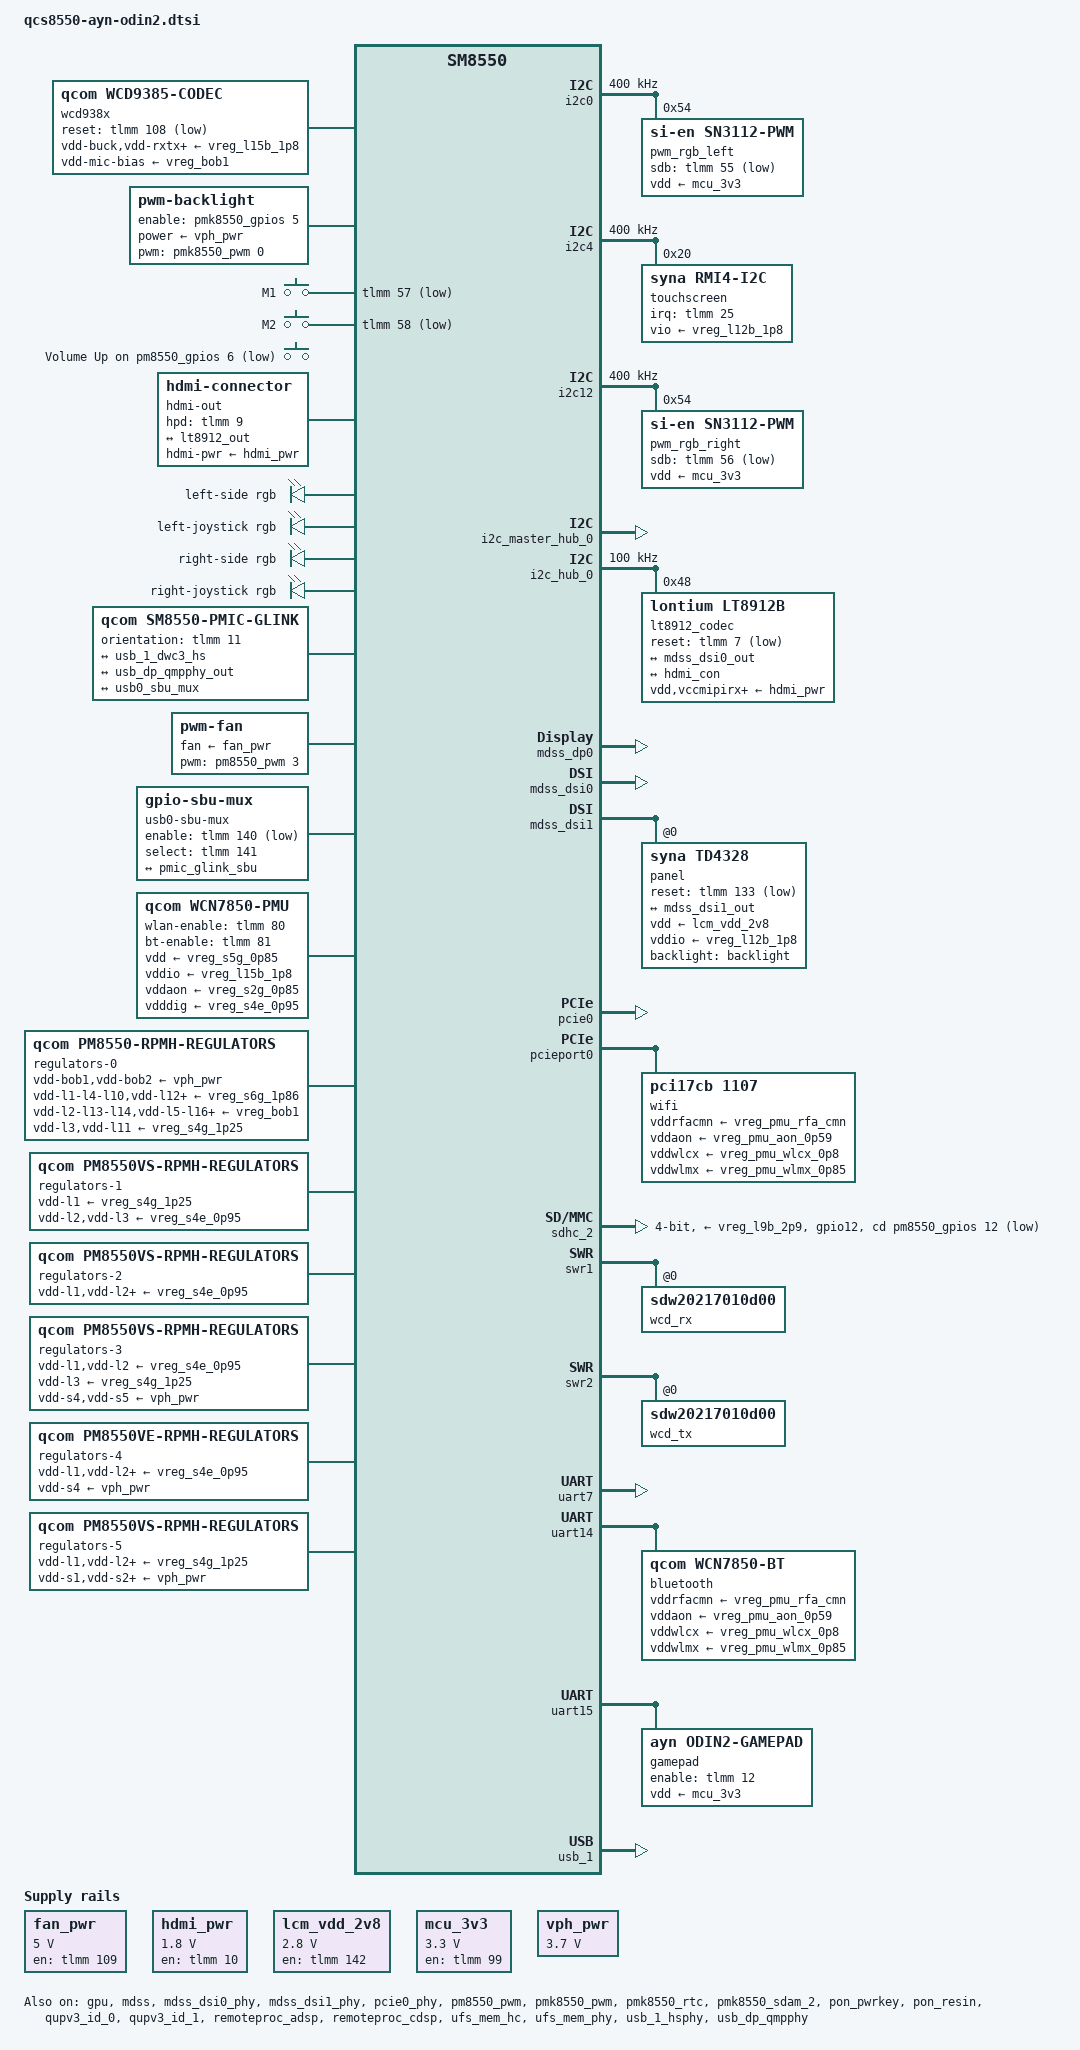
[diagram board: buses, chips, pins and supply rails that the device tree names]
// SPDX-License-Identifier: BSD-3-Clause
/*
 * Copyright (c) 2024, Xilin Wu <wuxilin123@gmail.com>
 * Copyright (c) 2024, Flao <placeholder@mail.com>
 * Copyright (c) 2024, Junhao Xie <bigfoot@classfun.cn>
 */

#include <dt-bindings/leds/common.h>
#include <dt-bindings/regulator/qcom,rpmh-regulator.h>
/* This device uses regular Android firmware */
#include "sm8550.dtsi"
#include "pm8550.dtsi"
#include "pm8550b.dtsi"
#define PMK8550VE_SID 5
#include "pm8550ve.dtsi"
#include "pm8550vs.dtsi"
#include "pmk8550.dtsi"

/*
 * The SoC being used on this product doesn't feature modem
 * and camera subsystem.
 * Variant: 202-AB
 * FEATURE_ID: 0x8
 */

/delete-node/ &mpss_mem;
/delete-node/ &q6_mpss_dtb_mem;
/delete-node/ &ipa_fw_mem;
/delete-node/ &ipa_gsi_mem;
/delete-node/ &camera_mem;
/delete-node/ &rmtfs_mem;
/delete-node/ &mpss_dsm_mem;

/delete-node/ &trust_ui_vm_mem;
/delete-node/ &trust_ui_vm_dump;
/delete-node/ &trust_ui_vm_qrtr;
/delete-node/ &trust_ui_vm_vblk0_ring;
/delete-node/ &trust_ui_vm_vblk1_ring;
/delete-node/ &trust_ui_vm_swiotlb;
/delete-node/ &oem_vm_mem;
/delete-node/ &oem_vm_vblk0_ring;
/delete-node/ &oem_vm_swiotlb;
/delete-node/ &hyp_ext_tags_mem;
/delete-node/ &hyp_ext_reserved_mem;

/delete-node/ &cci0;
/delete-node/ &cci1;
/delete-node/ &cci2;
/delete-node/ &camcc;
/delete-node/ &remoteproc_mpss;

/ {
	chassis-type = "handset";

	aliases {
		serial0 = &uart7;
		serial1 = &uart14;
		serial2 = &uart15;
	};

	wcd938x: audio-codec {
		compatible = "qcom,wcd9385-codec";

		pinctrl-names = "default";
		pinctrl-0 = <&wcd_default>;

		qcom,micbias1-microvolt = <1800000>;
		qcom,micbias2-microvolt = <1800000>;
		qcom,micbias3-microvolt = <1800000>;
		qcom,micbias4-microvolt = <1800000>;
		qcom,mbhc-buttons-vthreshold-microvolt = <75000 150000 237000 500000 500000 500000 500000 500000>;
		qcom,mbhc-headset-vthreshold-microvolt = <1700000>;
		qcom,mbhc-headphone-vthreshold-microvolt = <50000>;
		qcom,rx-device = <&wcd_rx>;
		qcom,tx-device = <&wcd_tx>;

		reset-gpios = <&tlmm 108 GPIO_ACTIVE_LOW>;

		vdd-buck-supply = <&vreg_l15b_1p8>;
		vdd-rxtx-supply = <&vreg_l15b_1p8>;
		vdd-io-supply = <&vreg_l15b_1p8>;
		vdd-mic-bias-supply = <&vreg_bob1>;

		#sound-dai-cells = <1>;
	};

	backlight: backlight {
		compatible = "pwm-backlight";
		pwms = <&pmk8550_pwm 0 860000>;
		brightness-levels = <1023 0>;
		num-interpolated-steps = <1023>;
		default-brightness-level = <600>;
		power-supply = <&vph_pwr>;
		enable-gpios = <&pmk8550_gpios 5 GPIO_ACTIVE_HIGH>;
		pinctrl-0 = <&pwm_backlight_default>;
		pinctrl-names = "default";
	};

	fan_pwr: fan-pwr-regulator {
		compatible = "regulator-fixed";
		regulator-name = "fan_pwr";

		regulator-min-microvolt = <5000000>;
		regulator-max-microvolt = <5000000>;

		gpio = <&tlmm 109 GPIO_ACTIVE_HIGH>;
		enable-active-high;

		pinctrl-names = "default";
		pinctrl-0 = <&fan_pwr_en>;

		regulator-state-mem {
			regulator-off-in-suspend;
		};
	};

	gpio_keys_control: gpio-keys-control {
		compatible = "gpio-keys";

		pinctrl-0 = <&m1_m2_keys_default>;
		pinctrl-names = "default";

		m1-button {
			label = "M1";
			linux,code = <BTN_TRIGGER_HAPPY1>;
			gpios = <&tlmm 57 GPIO_ACTIVE_LOW>;
		};

		m2-button {
			label = "M2";
			linux,code = <BTN_TRIGGER_HAPPY2>;
			gpios = <&tlmm 58 GPIO_ACTIVE_LOW>;
		};
	};

	gpio_keys_vol: gpio-keys-vol {
		compatible = "gpio-keys";

		pinctrl-0 = <&volume_up_n>;
		pinctrl-names = "default";

		key-volume-up {
			label = "Volume Up";
			linux,code = <KEY_VOLUMEUP>;
			gpios = <&pm8550_gpios 6 GPIO_ACTIVE_LOW>;
			debounce-interval = <15>;
			linux,can-disable;
			wakeup-source;
		};
	};

	hdmi-out {
		compatible = "hdmi-connector";
		type = "d";
		hpd-gpios = <&tlmm 9 GPIO_ACTIVE_HIGH>;
		hdmi-pwr-supply = <&hdmi_pwr>;

		port {
			hdmi_con: endpoint {
				remote-endpoint = <&lt8912_out>;
			};
		};
	};

	hdmi_pwr: hdmi-pwr-regulator {
		compatible = "regulator-fixed";
		regulator-name = "hdmi_pwr";

		regulator-min-microvolt = <1800000>;
		regulator-max-microvolt = <1800000>;

		gpio = <&tlmm 10 GPIO_ACTIVE_HIGH>;
		enable-active-high;
	};

	lcm_vdd_2v8: lcm-vdd-2v8-regulator {
		compatible = "regulator-fixed";
		regulator-name = "lcm_vdd_2v8";

		regulator-min-microvolt = <2800000>;
		regulator-max-microvolt = <2800000>;

		gpio = <&tlmm 142 GPIO_ACTIVE_HIGH>;
		enable-active-high;
	};

	led_left_side: led-controller-1 {
		compatible = "pwm-leds-multicolor";

		multi-led {
			label = "left-side";
			color = <LED_COLOR_ID_RGB>;
			max-brightness = <255>;

			led-red {
				color = <LED_COLOR_ID_RED>;
				pwms = <&pwm_rgb_left 0>;
			};

			led-green {
				color = <LED_COLOR_ID_GREEN>;
				pwms = <&pwm_rgb_left 1>;
			};

			led-blue {
				color = <LED_COLOR_ID_BLUE>;
				pwms = <&pwm_rgb_left 2>;
			};
		};
	};

	led_left_joystick: led-controller-2 {
		compatible = "pwm-leds-multicolor";

		multi-led {
			label = "left-joystick";
			color = <LED_COLOR_ID_RGB>;
			max-brightness = <255>;

			led-red {
				color = <LED_COLOR_ID_RED>;
				pwms = <&pwm_rgb_left 6>;
			};

			led-green {
				color = <LED_COLOR_ID_GREEN>;
				pwms = <&pwm_rgb_left 7>;
			};

			led-blue {
				color = <LED_COLOR_ID_BLUE>;
				pwms = <&pwm_rgb_left 8>;
			};
		};
	};

	led_right_side: led-controller-3 {
		compatible = "pwm-leds-multicolor";

		multi-led {
			label = "right-side";
			color = <LED_COLOR_ID_RGB>;
			max-brightness = <255>;

			led-red {
				color = <LED_COLOR_ID_RED>;
				pwms = <&pwm_rgb_right 0>;
			};

			led-green {
				color = <LED_COLOR_ID_GREEN>;
				pwms = <&pwm_rgb_right 1>;
			};

			led-blue {
				color = <LED_COLOR_ID_BLUE>;
				pwms = <&pwm_rgb_right 2>;
			};
		};
	};

	led_right_joystick: led-controller-4 {
		compatible = "pwm-leds-multicolor";

		multi-led {
			label = "right-joystick";
			color = <LED_COLOR_ID_RGB>;
			max-brightness = <255>;

			led-red {
				color = <LED_COLOR_ID_RED>;
				pwms = <&pwm_rgb_right 6>;
			};

			led-green {
				color = <LED_COLOR_ID_GREEN>;
				pwms = <&pwm_rgb_right 7>;
			};

			led-blue {
				color = <LED_COLOR_ID_BLUE>;
				pwms = <&pwm_rgb_right 8>;
			};
		};
	};

	mcu_3v3: mcu-3v3-regulator {
		compatible = "regulator-fixed";
		regulator-name = "mcu_3v3";

		regulator-min-microvolt = <3300000>;
		regulator-max-microvolt = <3300000>;

		gpio = <&tlmm 99 GPIO_ACTIVE_HIGH>;
		regulator-always-on;
		regulator-boot-on;
		enable-active-high;
	};

	pmic-glink {
		compatible = "qcom,sm8550-pmic-glink", "qcom,pmic-glink";
		#address-cells = <1>;
		#size-cells = <0>;
		orientation-gpios = <&tlmm 11 GPIO_ACTIVE_HIGH>;

		connector@0 {
			compatible = "usb-c-connector";
			reg = <0>;
			power-role = "dual";
			data-role = "dual";

			ports {
				#address-cells = <1>;
				#size-cells = <0>;

				port@0 {
					reg = <0>;

					pmic_glink_hs_in: endpoint {
						remote-endpoint = <&usb_1_dwc3_hs>;
					};
				};

				port@1 {
					reg = <1>;

					pmic_glink_ss_in: endpoint {
						remote-endpoint = <&usb_dp_qmpphy_out>;
					};
				};

				port@2 {
					reg = <2>;

					pmic_glink_sbu: endpoint {
						remote-endpoint = <&usb0_sbu_mux>;
					};
				};
			};
		};
	};

	fan: pwm-fan {
		// 40 -> 1550 RPM
		// 65 -> 2450 RPM
		// 75 -> 2750 RPM
		// 90 -> 3250 RPM
		// 100 -> 3550 RPM
		// 130 -> 4400 RPM
		// 150 -> 4850 RPM
		// 180 -> 5500 RPM
		// 255 -> 6000 RPM
		compatible = "pwm-fan";
		/* level (0, 1, 2, 3, 4, 5, 6, 7) */
		cooling-levels = <0 40 65 75 90 100 130 150>;
		#cooling-cells = <2>;
		fan-supply = <&fan_pwr>;
		pwms = <&pm8550_pwm 3 100000>;

		pinctrl-names = "default";
		// pinctrl-0 = <&pwm_out_default &fan_int>;
		pinctrl-0 = <&pwm_out_default>;

		// pulses-per-revolution = <4>;
		// interrupt-parent = <&tlmm>;
		// interrupts = <13 IRQ_TYPE_EDGE_FALLING>;
	};

	sound {
		compatible = "qcom,sm8550-sndcard", "qcom,sm8450-sndcard";
		model = "QCS8550-AYN-ODIN2";
		audio-routing =
				"IN1_HPHL", "HPHL_OUT",
				"IN2_HPHR", "HPHR_OUT";

		wcd-playback-dai-link {
			link-name = "WCD Playback";

			cpu {
				sound-dai = <&q6apmbedai RX_CODEC_DMA_RX_0>;
			};

			codec {
				sound-dai = <&wcd938x 0>, <&swr1 0>, <&lpass_rxmacro 0>;
			};

			platform {
				sound-dai = <&q6apm>;
			};
		};

		wcd-capture-dai-link {
			link-name = "WCD Capture";

			cpu {
				sound-dai = <&q6apmbedai TX_CODEC_DMA_TX_3>;
			};

			codec {
				sound-dai = <&wcd938x 1>, <&swr2 0>, <&lpass_txmacro 0>;
			};

			platform {
				sound-dai = <&q6apm>;
			};
		};

		dp0-dai-link {
			link-name = "DP0 Playback";
			cpu {
				sound-dai = <&q6apmbedai DISPLAY_PORT_RX_0>;
			};

			platform {
				sound-dai = <&q6apm>;
			};

			codec {
				sound-dai = <&mdss_dp0>;
			};
		};
	};

	thermal-zones {
		cpuss2-thermal {
			trips {
				cpu7_middle_fan0: trip-point2 {
					temperature = <50000>;
					hysteresis = <2000>;
					type = "active";
				};

				cpu7_middle_fan1: trip-point3 {
					temperature = <55000>;
					hysteresis = <2000>;
					type = "active";
				};

				cpu7_middle_fan2: trip-point4 {
					temperature = <60000>;
					hysteresis = <2000>;
					type = "active";
				};

				cpu7_middle_fan3: trip-point5 {
					temperature = <65000>;
					hysteresis = <2000>;
					type = "active";
				};

				cpu7_middle_fan4: trip-point6 {
					temperature = <70000>;
					hysteresis = <2000>;
					type = "active";
				};

				cpu7_middle_fan5: trip-point7 {
					temperature = <75000>;
					hysteresis = <2000>;
					type = "active";
				};

				cpu7_middle_fan6: trip-point8 {
					temperature = <80000>;
					hysteresis = <2000>;
					type = "active";
				};
			};

			cooling-maps {
				map0 {
					trip = <&cpu7_middle_fan0>;
					cooling-device = <&fan 0 1>;
				};

				map1 {
					trip = <&cpu7_middle_fan1>;
					cooling-device = <&fan 1 2>;
				};

				map2 {
					trip = <&cpu7_middle_fan2>;
					cooling-device = <&fan 2 3>;
				};

				map3 {
					trip = <&cpu7_middle_fan3>;
					cooling-device = <&fan 3 4>;
				};

				map4 {
					trip = <&cpu7_middle_fan4>;
					cooling-device = <&fan 4 5>;
				};

				map5 {
					trip = <&cpu7_middle_fan5>;
					cooling-device = <&fan 5 6>;
				};

				map6 {
					trip = <&cpu7_middle_fan6>;
					cooling-device = <&fan 6 7>;
				};
			};
		};
	};

	usb0-sbu-mux {
		compatible = "gpio-sbu-mux";

		enable-gpios = <&tlmm 140 GPIO_ACTIVE_LOW>;
		select-gpios = <&tlmm 141 GPIO_ACTIVE_HIGH>;

		pinctrl-names = "default";
		pinctrl-0 = <&usb0_sbu_default>;

		mode-switch;
		orientation-switch;

		port {
			usb0_sbu_mux: endpoint {
				remote-endpoint = <&pmic_glink_sbu>;
			};
		};
	};

	vph_pwr: vph-pwr-regulator {
		compatible = "regulator-fixed";
		regulator-name = "vph_pwr";
		regulator-min-microvolt = <3700000>;
		regulator-max-microvolt = <3700000>;

		regulator-always-on;
		regulator-boot-on;
	};

	wcn7850-pmu {
		compatible = "qcom,wcn7850-pmu";

		pinctrl-names = "default";
		pinctrl-0 = <&wlan_en>, <&bt_default>, <&pmk8550_sleep_clk>;

		wlan-enable-gpios = <&tlmm 80 GPIO_ACTIVE_HIGH>;
        bt-enable-gpios = <&tlmm 81 GPIO_ACTIVE_HIGH>;

		vdd-supply = <&vreg_s5g_0p85>;
		vddio-supply = <&vreg_l15b_1p8>;
		vddaon-supply = <&vreg_s2g_0p85>;
		vdddig-supply = <&vreg_s4e_0p95>;
		vddrfa1p2-supply = <&vreg_s4g_1p25>;
		vddrfa1p8-supply = <&vreg_s6g_1p86>;

		regulators {
			vreg_pmu_rfa_cmn: ldo0 {
				regulator-name = "vreg_pmu_rfa_cmn";
			};

			vreg_pmu_aon_0p59: ldo1 {
				regulator-name = "vreg_pmu_aon_0p59";
			};

			vreg_pmu_wlcx_0p8: ldo2 {
				regulator-name = "vreg_pmu_wlcx_0p8";
			};

			vreg_pmu_wlmx_0p85: ldo3 {
				regulator-name = "vreg_pmu_wlmx_0p85";
			};

			vreg_pmu_btcmx_0p85: ldo4 {
				regulator-name = "vreg_pmu_btcmx_0p85";
			};

			vreg_pmu_rfa_0p8: ldo5 {
				regulator-name = "vreg_pmu_rfa_0p8";
			};

			vreg_pmu_rfa_1p2: ldo6 {
				regulator-name = "vreg_pmu_rfa_1p2";
			};

			vreg_pmu_rfa_1p8: ldo7 {
				regulator-name = "vreg_pmu_rfa_1p8";
			};

			vreg_pmu_pcie_0p9: ldo8 {
				regulator-name = "vreg_pmu_pcie_0p9";
			};

			vreg_pmu_pcie_1p8: ldo9 {
				regulator-name = "vreg_pmu_pcie_1p8";
			};
		};
	};
};

&apps_rsc {
	regulators-0 {
		compatible = "qcom,pm8550-rpmh-regulators";
		qcom,pmic-id = "b";

		vdd-bob1-supply = <&vph_pwr>;
		vdd-bob2-supply = <&vph_pwr>;
		vdd-l1-l4-l10-supply = <&vreg_s6g_1p86>;
		vdd-l2-l13-l14-supply = <&vreg_bob1>;
		vdd-l3-supply = <&vreg_s4g_1p25>;
		vdd-l5-l16-supply = <&vreg_bob1>;
		vdd-l6-l7-supply = <&vreg_bob1>;
		vdd-l8-l9-supply = <&vreg_bob1>;
		vdd-l11-supply = <&vreg_s4g_1p25>;
		vdd-l12-supply = <&vreg_s6g_1p86>;
		vdd-l15-supply = <&vreg_s6g_1p86>;
		vdd-l17-supply = <&vreg_bob2>;

		/* cdc-vdd-mic-bias-supply */
		vreg_bob1: bob1 {
			regulator-name = "vreg_bob1";
			regulator-min-microvolt = <3296000>;
			regulator-max-microvolt = <3960000>;
			regulator-initial-mode = <RPMH_REGULATOR_MODE_HPM>;
		};

		vreg_bob2: bob2 {
			regulator-name = "vreg_bob2";
			regulator-min-microvolt = <2720000>;
			regulator-max-microvolt = <3960000>;
			regulator-initial-mode = <RPMH_REGULATOR_MODE_HPM>;
		};

		/* Sensors vddio */
		vreg_l1b_1p8: ldo1 {
			regulator-name = "vreg_l1b_1p8";
			regulator-min-microvolt = <1800000>;
			regulator-max-microvolt = <1800000>;
			regulator-initial-mode = <RPMH_REGULATOR_MODE_HPM>;
			regulator-allow-set-load;
			regulator-allowed-modes = <RPMH_REGULATOR_MODE_LPM
						   RPMH_REGULATOR_MODE_HPM>;
		};

		/* Sensors vdd */
		vreg_l2b_3p0: ldo2 {
			regulator-name = "vreg_l2b_3p0";
			regulator-min-microvolt = <3008000>;
			regulator-max-microvolt = <3008000>;
			regulator-initial-mode = <RPMH_REGULATOR_MODE_HPM>;
			regulator-allow-set-load;
			regulator-allowed-modes = <RPMH_REGULATOR_MODE_LPM
						   RPMH_REGULATOR_MODE_HPM>;
		};

		vreg_l5b_3p1: ldo5 {
			regulator-name = "vreg_l5b_3p1";
			regulator-min-microvolt = <3104000>;
			regulator-max-microvolt = <3104000>;
			regulator-initial-mode = <RPMH_REGULATOR_MODE_HPM>;
			regulator-allow-set-load;
			regulator-allowed-modes = <RPMH_REGULATOR_MODE_LPM
						   RPMH_REGULATOR_MODE_HPM>;
		};

		vreg_l6b_1p8: ldo6 {
			regulator-name = "vreg_l6b_1p8";
			regulator-min-microvolt = <1800000>;
			regulator-max-microvolt = <3008000>;
			regulator-initial-mode = <RPMH_REGULATOR_MODE_HPM>;
			regulator-allow-set-load;
			regulator-allowed-modes = <RPMH_REGULATOR_MODE_LPM
						   RPMH_REGULATOR_MODE_HPM>;
		};

		vreg_l7b_1p8: ldo7 {
			regulator-name = "vreg_l7b_1p8";
			regulator-min-microvolt = <1800000>;
			regulator-max-microvolt = <3008000>;
			regulator-initial-mode = <RPMH_REGULATOR_MODE_HPM>;
			regulator-allow-set-load;
			regulator-allowed-modes = <RPMH_REGULATOR_MODE_LPM
						   RPMH_REGULATOR_MODE_HPM>;
		};

		vreg_l8b_1p8: ldo8 {
			regulator-name = "vreg_l8b_1p8";
			regulator-min-microvolt = <1800000>;
			regulator-max-microvolt = <3008000>;
			regulator-initial-mode = <RPMH_REGULATOR_MODE_HPM>;
			regulator-allow-set-load;
			regulator-allowed-modes = <RPMH_REGULATOR_MODE_LPM
						   RPMH_REGULATOR_MODE_HPM>;
		};

		vreg_l9b_2p9: ldo9 {
			regulator-name = "vreg_l9b_2p9";
			regulator-min-microvolt = <2960000>;
			regulator-max-microvolt = <3008000>;
			regulator-initial-mode = <RPMH_REGULATOR_MODE_HPM>;
			regulator-allow-set-load;
			regulator-allowed-modes = <RPMH_REGULATOR_MODE_LPM
						   RPMH_REGULATOR_MODE_HPM>;
		};

		vreg_l10b_1p8: ldo10 {
			regulator-name = "vreg_l10b_1p8";
			regulator-min-microvolt = <1800000>;
			regulator-max-microvolt = <1800000>;
			regulator-initial-mode = <RPMH_REGULATOR_MODE_HPM>;
			regulator-allow-set-load;
			regulator-allowed-modes = <RPMH_REGULATOR_MODE_LPM
						   RPMH_REGULATOR_MODE_HPM>;
		};

		vreg_l11b_1p2: ldo11 {
			regulator-name = "vreg_l11b_1p2";
			regulator-min-microvolt = <1200000>;
			regulator-max-microvolt = <1504000>;
			regulator-initial-mode = <RPMH_REGULATOR_MODE_HPM>;
			regulator-allow-set-load;
			regulator-allowed-modes = <RPMH_REGULATOR_MODE_LPM
						   RPMH_REGULATOR_MODE_HPM>;
		};

		vreg_l12b_1p8: ldo12 {
			regulator-name = "vreg_l12b_1p8";
			regulator-min-microvolt = <1800000>;
			regulator-max-microvolt = <1800000>;
			regulator-initial-mode = <RPMH_REGULATOR_MODE_HPM>;
			regulator-allow-set-load;
			regulator-allowed-modes = <RPMH_REGULATOR_MODE_LPM
						   RPMH_REGULATOR_MODE_HPM>;
		};

		/* Not really providing LCM_VDD_2V8, remove in the future */
		vreg_l13b_3p0: ldo13 {
			regulator-name = "vreg_l13b_3p0";
			regulator-min-microvolt = <3000000>;
			regulator-max-microvolt = <3000000>;
			regulator-initial-mode = <RPMH_REGULATOR_MODE_HPM>;
			regulator-allow-set-load;
			regulator-allowed-modes = <RPMH_REGULATOR_MODE_LPM
						   RPMH_REGULATOR_MODE_HPM>;
		};

		/* fingerprint sensor */
		vreg_l14b_3p2: ldo14 {
			regulator-name = "vreg_l14b_3p2";
			regulator-min-microvolt = <3200000>;
			regulator-max-microvolt = <3200000>;
			regulator-initial-mode = <RPMH_REGULATOR_MODE_HPM>;
			regulator-allow-set-load;
			regulator-allowed-modes = <RPMH_REGULATOR_MODE_LPM
						   RPMH_REGULATOR_MODE_HPM>;
		};

		/* Speaker dvdd */
		vreg_l15b_1p8: ldo15 {
			regulator-name = "vreg_l15b_1p8";
			regulator-min-microvolt = <1800000>;
			regulator-max-microvolt = <1800000>;
			regulator-initial-mode = <RPMH_REGULATOR_MODE_HPM>;
			regulator-allow-set-load;
			regulator-allowed-modes = <RPMH_REGULATOR_MODE_LPM
						   RPMH_REGULATOR_MODE_HPM>;
		};

		/* FM radio? wtf */
		vreg_l16b_2p8: ldo16 {
			regulator-name = "vreg_l16b_2p8";
			regulator-min-microvolt = <2800000>;
			regulator-max-microvolt = <2800000>;
			regulator-initial-mode = <RPMH_REGULATOR_MODE_HPM>;
			regulator-allow-set-load;
			regulator-allowed-modes = <RPMH_REGULATOR_MODE_LPM
						   RPMH_REGULATOR_MODE_HPM>;
		};

		/* Setting regulator-allow-set-load here will crash the device */
		vreg_l17b_2p5: ldo17 {
			regulator-name = "vreg_l17b_2p5";
			regulator-min-microvolt = <2504000>;
			regulator-max-microvolt = <2504000>;
			regulator-initial-mode = <RPMH_REGULATOR_MODE_HPM>;
		};
	};

	regulators-1 {
		compatible = "qcom,pm8550vs-rpmh-regulators";
		qcom,pmic-id = "c";

		vdd-l1-supply = <&vreg_s4g_1p25>;
		vdd-l2-supply = <&vreg_s4e_0p95>;
		vdd-l3-supply = <&vreg_s4e_0p95>;

		vreg_l1c_1p2: ldo1 {
			regulator-name = "vreg_l1c_1p2";
			regulator-min-microvolt = <1200000>;
			regulator-max-microvolt = <1200000>;
			regulator-initial-mode = <RPMH_REGULATOR_MODE_HPM>;
			regulator-allow-set-load;
			regulator-allowed-modes = <RPMH_REGULATOR_MODE_LPM
						   RPMH_REGULATOR_MODE_HPM>;
		};

		vreg_l3c_0p9: ldo3 {
			regulator-name = "vreg_l3c_0p9";
			regulator-min-microvolt = <880000>;
			regulator-max-microvolt = <912000>;
			regulator-initial-mode = <RPMH_REGULATOR_MODE_HPM>;
			regulator-allow-set-load;
			regulator-allowed-modes = <RPMH_REGULATOR_MODE_LPM
						   RPMH_REGULATOR_MODE_HPM>;
		};
	};

	regulators-2 {
		compatible = "qcom,pm8550vs-rpmh-regulators";
		qcom,pmic-id = "d";

		vdd-l1-supply = <&vreg_s4e_0p95>;
		vdd-l2-supply = <&vreg_s4e_0p95>;
		vdd-l3-supply = <&vreg_s4e_0p95>;

		vreg_l1d_0p88: ldo1 {
			regulator-name = "vreg_l1d_0p88";
			regulator-min-microvolt = <880000>;
			regulator-max-microvolt = <920000>;
			regulator-initial-mode = <RPMH_REGULATOR_MODE_HPM>;
			regulator-allow-set-load;
			regulator-allowed-modes = <RPMH_REGULATOR_MODE_LPM
						   RPMH_REGULATOR_MODE_HPM>;
		};

		/* ldo2 supplies SM8550 VDD_LPI_MX */
	};

	regulators-3 {
		compatible = "qcom,pm8550vs-rpmh-regulators";
		qcom,pmic-id = "e";

		vdd-l1-supply = <&vreg_s4e_0p95>;
		vdd-l2-supply = <&vreg_s4e_0p95>;
		vdd-l3-supply = <&vreg_s4g_1p25>;
		vdd-s4-supply = <&vph_pwr>;
		vdd-s5-supply = <&vph_pwr>;

		vreg_s4e_0p95: smps4 {
			regulator-name = "vreg_s4e_0p95";
			regulator-min-microvolt = <904000>;
			regulator-max-microvolt = <984000>;
			regulator-initial-mode = <RPMH_REGULATOR_MODE_HPM>;
		};

		vreg_s5e_1p08: smps5 {
			regulator-name = "vreg_s5e_1p08";
			regulator-min-microvolt = <1010000>;
			regulator-max-microvolt = <1120000>;
			regulator-initial-mode = <RPMH_REGULATOR_MODE_HPM>;
		};

		vreg_l1e_0p88: ldo1 {
			regulator-name = "vreg_l1e_0p88";
			regulator-min-microvolt = <880000>;
			regulator-max-microvolt = <912000>;
			regulator-initial-mode = <RPMH_REGULATOR_MODE_HPM>;
			regulator-allow-set-load;
			regulator-allowed-modes = <RPMH_REGULATOR_MODE_LPM
						   RPMH_REGULATOR_MODE_HPM>;
		};

		vreg_l2e_0p9: ldo2 {
			regulator-name = "vreg_l2e_0p9";
			regulator-min-microvolt = <870000>;
			regulator-max-microvolt = <970000>;
			regulator-initial-mode = <RPMH_REGULATOR_MODE_HPM>;
			regulator-allow-set-load;
			regulator-allowed-modes = <RPMH_REGULATOR_MODE_LPM
						   RPMH_REGULATOR_MODE_HPM>;
		};

		vreg_l3e_1p2: ldo3 {
			regulator-name = "vreg_l3e_1p2";
			regulator-min-microvolt = <1200000>;
			regulator-max-microvolt = <1200000>;
			regulator-initial-mode = <RPMH_REGULATOR_MODE_HPM>;
			regulator-allow-set-load;
			regulator-allowed-modes = <RPMH_REGULATOR_MODE_LPM
						   RPMH_REGULATOR_MODE_HPM>;
		};
	};

	regulators-4 {
		compatible = "qcom,pm8550ve-rpmh-regulators";
		qcom,pmic-id = "f";

		vdd-l1-supply = <&vreg_s4e_0p95>;
		vdd-l2-supply = <&vreg_s4e_0p95>;
		vdd-l3-supply = <&vreg_s4e_0p95>;
		vdd-s4-supply = <&vph_pwr>;

		vreg_s4f_0p5: smps4 {
			regulator-name = "vreg_s4f_0p5";
			regulator-min-microvolt = <300000>;
			regulator-max-microvolt = <700000>;
			regulator-initial-mode = <RPMH_REGULATOR_MODE_HPM>;
		};

		vreg_l1f_0p9: ldo1 {
			regulator-name = "vreg_l1f_0p9";
			regulator-min-microvolt = <880000>;
			regulator-max-microvolt = <912000>;
			regulator-initial-mode = <RPMH_REGULATOR_MODE_HPM>;
			regulator-allow-set-load;
			regulator-allowed-modes = <RPMH_REGULATOR_MODE_LPM
						   RPMH_REGULATOR_MODE_HPM>;
		};

		vreg_l2f_0p88: ldo2 {
			regulator-name = "vreg_l2f_0p88";
			regulator-min-microvolt = <880000>;
			regulator-max-microvolt = <912000>;
			regulator-initial-mode = <RPMH_REGULATOR_MODE_HPM>;
			regulator-allow-set-load;
			regulator-allowed-modes = <RPMH_REGULATOR_MODE_LPM
						   RPMH_REGULATOR_MODE_HPM>;
		};

		vreg_l3f_0p88: ldo3 {
			regulator-name = "vreg_l3f_0p88";
			regulator-min-microvolt = <880000>;
			regulator-max-microvolt = <912000>;
			regulator-initial-mode = <RPMH_REGULATOR_MODE_HPM>;
			regulator-allow-set-load;
			regulator-allowed-modes = <RPMH_REGULATOR_MODE_LPM
						   RPMH_REGULATOR_MODE_HPM>;
		};
	};

	regulators-5 {
		compatible = "qcom,pm8550vs-rpmh-regulators";
		qcom,pmic-id = "g";

		vdd-l1-supply = <&vreg_s4g_1p25>;
		vdd-l2-supply = <&vreg_s4g_1p25>;
		vdd-l3-supply = <&vreg_s4g_1p25>;
		vdd-s1-supply = <&vph_pwr>;
		vdd-s2-supply = <&vph_pwr>;
		vdd-s3-supply = <&vph_pwr>;
		vdd-s4-supply = <&vph_pwr>;
		vdd-s5-supply = <&vph_pwr>;
		vdd-s6-supply = <&vph_pwr>;

		vreg_s1g_1p25: smps1 {
			regulator-name = "vreg_s1g_1p25";
			regulator-min-microvolt = <1200000>;
			regulator-max-microvolt = <1300000>;
			regulator-initial-mode = <RPMH_REGULATOR_MODE_HPM>;
		};

		vreg_s2g_0p85: smps2 {
			regulator-name = "vreg_s2g_0p85";
			regulator-min-microvolt = <500000>;
			regulator-max-microvolt = <1036000>;
			regulator-initial-mode = <RPMH_REGULATOR_MODE_HPM>;
		};

		vreg_s3g_0p8: smps3 {
			regulator-name = "vreg_s3g_0p8";
			regulator-min-microvolt = <300000>;
			regulator-max-microvolt = <1004000>;
			regulator-initial-mode = <RPMH_REGULATOR_MODE_HPM>;
		};

		vreg_s4g_1p25: smps4 {
			regulator-name = "vreg_s4g_1p25";
			regulator-min-microvolt = <1200000>;
			regulator-max-microvolt = <1352000>;
			regulator-initial-mode = <RPMH_REGULATOR_MODE_RET>;
		};

		vreg_s5g_0p85: smps5 {
			regulator-name = "vreg_s5g_0p85";
			regulator-min-microvolt = <500000>;
			regulator-max-microvolt = <1004000>;
			regulator-initial-mode = <RPMH_REGULATOR_MODE_HPM>;
		};

		vreg_s6g_1p86: smps6 {
			regulator-name = "vreg_s6g_1p86";
			regulator-min-microvolt = <1800000>;
			regulator-max-microvolt = <2000000>;
			regulator-initial-mode = <RPMH_REGULATOR_MODE_HPM>;
		};

		vreg_l1g_1p2: ldo1 {
			regulator-name = "vreg_l1g_1p2";
			regulator-min-microvolt = <1144000>;
			regulator-max-microvolt = <1256000>;
			regulator-initial-mode = <RPMH_REGULATOR_MODE_HPM>;
			regulator-allow-set-load;
			regulator-allowed-modes = <RPMH_REGULATOR_MODE_LPM
						   RPMH_REGULATOR_MODE_HPM>;
		};

		vreg_l2g_1p1: ldo2 {
			regulator-name = "vreg_l2g_1p1";
			regulator-min-microvolt = <1100000>;
			regulator-max-microvolt = <1200000>;
			regulator-initial-mode = <RPMH_REGULATOR_MODE_HPM>;
			regulator-allow-set-load;
			regulator-allowed-modes = <RPMH_REGULATOR_MODE_LPM
						   RPMH_REGULATOR_MODE_HPM>;
		};

		vreg_l3g_1p2: ldo3 {
			regulator-name = "vreg_l3g_1p2";
			regulator-min-microvolt = <1200000>;
			regulator-max-microvolt = <1200000>;
			regulator-initial-mode = <RPMH_REGULATOR_MODE_HPM>;
			regulator-allow-set-load;
			regulator-allowed-modes = <RPMH_REGULATOR_MODE_LPM
						   RPMH_REGULATOR_MODE_HPM>;
		};
	};
};

// &dispcc {
//     status = "disabled";
// };

&gpi_dma1 {
	status = "okay";
};

&gpi_dma2 {
	status = "okay";
};

&gpu {
	status = "okay";

	zap-shader {
		firmware-name = "qcom/sm8550/ayn/odin2/a740_zap.mbn";
	};
};

&hub_i2c0_data_clk {
	/delete-property/ bias-pull-up;
	bias-disable;
};

&i2c0 {
	clock-frequency = <400000>;
	status = "okay";

	pwm_rgb_left: sn3112@54 {
		compatible = "si-en,sn3112-pwm";
		reg = <0x54>;
		sdb-gpios = <&tlmm 55 GPIO_ACTIVE_LOW>;
		vdd-supply = <&mcu_3v3>;
		#pwm-cells = <1>;
	};
};

&i2c4 {
	clock-frequency = <400000>;
	status = "okay";

	touchscreen@20 {
		compatible = "syna,rmi4-i2c";
		reg = <0x20>;
		#address-cells = <1>;
		#size-cells = <0>;
		interrupts-extended = <&tlmm 25 0x2008>;

		pinctrl-names = "default", "sleep";
		pinctrl-0 = <&ts_int_default>;
		pinctrl-1 = <&ts_int_sleep>;

		vio-supply = <&vreg_l12b_1p8>;
		
		syna,startup-delay-ms = <200>;
		syna,reset-delay-ms = <200>;

		rmi4-f01@1 {
			syna,nosleep-mode = <0x1>;
			reg = <0x1>;
		};

		rmi4-f12@12 {
			reg = <0x12>;
			syna,rezero-wait-ms = <20>;
			syna,clip-x-low = <0>;
			syna,clip-y-low = <0>;
			syna,clip-x-high = <1080>;
			syna,clip-y-high = <1920>;
			syna,sensor-type = <1>;
			touchscreen-inverted-x;
		};
	};
};

&i2c12 {
	clock-frequency = <400000>;
	status = "okay";

	pwm_rgb_right: sn3112@54 {
		compatible = "si-en,sn3112-pwm";
		reg = <0x54>;
		sdb-gpios = <&tlmm 56 GPIO_ACTIVE_LOW>;
		vdd-supply = <&mcu_3v3>;
		#pwm-cells = <1>;
	};
};

&i2c_master_hub_0 {
	status = "okay";
};

&i2c_hub_0 {
	clock-frequency = <100000>;
	status = "okay";

	lt8912_codec: hdmi-bridge@48 {
		compatible = "lontium,lt8912b";
		reg = <0x48> ;
		#sound-dai-cells = <1>;

		reset-gpios = <&tlmm 7 GPIO_ACTIVE_LOW>;

		vdd-supply = <&hdmi_pwr>;
		vccmipirx-supply = <&hdmi_pwr>;
		vccsysclk-supply = <&hdmi_pwr>;
		vcclvdstx-supply = <&hdmi_pwr>;
		vcchdmitx-supply = <&hdmi_pwr>;
		vcclvdspll-supply = <&hdmi_pwr>;
		vcchdmipll-supply = <&hdmi_pwr>;

		ports {
			#address-cells = <1>;
			#size-cells = <0>;

			port@0 {
				reg = <0>;

				hdmi_out_in: endpoint {
					data-lanes = <1 2 3 4>;
					remote-endpoint = <&mdss_dsi0_out>;
				};
			};

			port@1 {
				reg = <1>;

				lt8912_out: endpoint {
					remote-endpoint = <&hdmi_con>;
				};
			};
		};
	};
};

/* ICE has a high impact on UFS read speed on -next */
&ice {
	status = "disabled";
};

&lpass_wsamacro {
	status = "disabled";
};

&mdss {
	status = "okay";
};

&mdss_dp0 {
	status = "okay";
	sound-name-prefix = "Display Port0";
};

&mdss_dp0_out {
	data-lanes = <0 1 2 3>;
	link-frequencies = /bits/ 64 <1620000000 2700000000 5400000000 8100000000>;
};

&mdss_dsi0 {
	vdda-supply = <&vreg_l3e_1p2>;
	status = "okay";
};

&mdss_dsi0_out {
	remote-endpoint = <&hdmi_out_in>;
	data-lanes = <0 1 2 3>;
};

&mdss_dsi0_phy {
	vdds-supply = <&vreg_l1e_0p88>;
	status = "okay";
};

&mdss_dsi1 {
	vdda-supply = <&vreg_l3e_1p2>;
	status = "okay";

	panel: panel@0 {
		compatible = "syna,td4328";
		reg = <0>;

		pinctrl-0 = <&sde_dsi_active>, <&sde_te_active>;
		pinctrl-1 = <&sde_dsi_suspend>, <&sde_te_suspend>;
		pinctrl-names = "default", "sleep";

		vdd-supply = <&lcm_vdd_2v8>;
		vddio-supply = <&vreg_l12b_1p8>;

		backlight = <&backlight>;
		/* touchscreen and display panel share the same reset gpio! */
		reset-gpios = <&tlmm 133 GPIO_ACTIVE_LOW>;

		port {
			panel0_in: endpoint {
				remote-endpoint = <&mdss_dsi1_out>;
			};
		};
	};
};

&mdss_dsi1_out {
	remote-endpoint = <&panel0_in>;
	data-lanes = <0 1 2 3>;
};

&mdss_dsi1_phy {
	vdds-supply = <&vreg_l1e_0p88>;
	status = "okay";
};

&pcie0 {
	wake-gpios = <&tlmm 96 GPIO_ACTIVE_HIGH>;
	perst-gpios = <&tlmm 94 GPIO_ACTIVE_LOW>;

	max-link-speed = <2>;

	pinctrl-0 = <&pcie0_default_state>;
	pinctrl-names = "default";

	status = "okay";
};

&pcieport0 {
	wifi@0 {
		compatible = "pci17cb,1107";
		reg = <0x10000 0x0 0x0 0x0 0x0>;

		vddrfacmn-supply = <&vreg_pmu_rfa_cmn>;
		vddaon-supply = <&vreg_pmu_aon_0p59>;
		vddwlcx-supply = <&vreg_pmu_wlcx_0p8>;
		vddwlmx-supply = <&vreg_pmu_wlmx_0p85>;
		vddrfa0p8-supply = <&vreg_pmu_rfa_0p8>;
		vddrfa1p2-supply = <&vreg_pmu_rfa_1p2>;
		vddrfa1p8-supply = <&vreg_pmu_rfa_1p8>;
		vddpcie0p9-supply = <&vreg_pmu_pcie_0p9>;
		vddpcie1p8-supply = <&vreg_pmu_pcie_1p8>;
	};
};

&pcie0_phy {
	vdda-phy-supply = <&vreg_l1e_0p88>;
	vdda-pll-supply = <&vreg_l3e_1p2>;

	status = "okay";
};

&pm8550_gpios {
	pwm_out_default: pwm-out-default-state {
		pins = "gpio8";
		function = "func1";
		input-disable;
		output-enable;
		output-low;
		bias-disable;
		power-source = <1>;
	};

	sdc2_card_det_n: sdc2-card-det-state {
		pins = "gpio12";
		function = "normal";
		input-enable;
		output-disable;
		bias-pull-up;
		power-source = <1>; /* 1.8 V */
	};

	volume_up_n: volume-up-n-state {
		pins = "gpio6";
		function = "normal";
		power-source = <1>;
		bias-pull-up;
		input-enable;
	};
};

&pm8550_pwm {
	status = "okay";
};

&pm8550b_eusb2_repeater {
	qcom,tune-usb2-disc-thres = /bits/ 8 <0x6>;
	qcom,tune-usb2-amplitude = /bits/ 8 <0xb>;
	qcom,tune-usb2-preem = /bits/ 8 <0x3>;
	vdd18-supply = <&vreg_l15b_1p8>;
	vdd3-supply = <&vreg_l5b_3p1>;
};

&pmk8550_gpios {
	pmk8550_sleep_clk: sleep-clk-state {
		pins = "gpio3";
		function = "func1";
		input-disable;
		output-enable;
		bias-disable;
		power-source = <0>;
	};

	pwm_backlight_default: pwm-backlight-default-state {
		pins = "gpio5";
		function = "func3";
		input-disable;
		output-low;
		output-enable;
		bias-disable;
		power-source = <0>;
		qcom,drive-strength = <2>;
	};
};

&pmk8550_pwm {
	status = "okay";
};

&pmk8550_rtc {
	nvmem-cells = <&rtc_offset>;
	nvmem-cell-names = "offset";

	status = "okay";
};

&pmk8550_sdam_2 {
	status = "okay";

	rtc_offset: rtc-offset@bc {
		reg = <0xbc 0x4>;
	};
};

&pon_pwrkey {
	status = "okay";
};

&pon_resin {
	linux,code = <KEY_VOLUMEDOWN>;
	status = "okay";
};

&qupv3_id_0 {
	status = "okay";
};

&qupv3_id_1 {
	status = "okay";
};

&remoteproc_adsp {
	firmware-name = "qcom/sm8550/ayn/odin2/adsp.mbn",
			"qcom/sm8550/ayn/odin2/adsp_dtb.mbn";
	status = "okay";
};

&remoteproc_cdsp {
	firmware-name = "qcom/sm8550/ayn/odin2/cdsp.mbn",
			"qcom/sm8550/ayn/odin2/cdsp_dtb.mbn";
	status = "okay";
};

&sdhc_2 {
	cd-gpios = <&pm8550_gpios 12 GPIO_ACTIVE_LOW>;
	pinctrl-names = "default", "sleep";
	pinctrl-0 = <&sdc2_default &sdc2_card_det_n>;
	pinctrl-1 = <&sdc2_sleep &sdc2_card_det_n>;
	vmmc-supply = <&vreg_l9b_2p9>;
	vqmmc-supply = <&vreg_l8b_1p8>;
	bus-width = <4>;
	no-sdio;
	no-mmc;

	/* SDR104 does seem to be working */
	/delete-property/ sdhci-caps-mask;
	qcom,dll-config = <0x0007442c>;
	qcom,use-level-shifter;

	status = "okay";
};

&sleep_clk {
	clock-frequency = <32000>;
};

&swr1 {
	status = "okay";

	/* WCD9385 RX */
	wcd_rx: codec@0,4 {
		compatible = "sdw20217010d00";
		reg = <0 4>;

		/*
		 * WCD9385 RX Port 1 (HPH_L/R)      <=> SWR1 Port 1 (HPH_L/R)
		 * WCD9385 RX Port 2 (CLSH)         <=> SWR1 Port 2 (CLSH)
		 * WCD9385 RX Port 3 (COMP_L/R)     <=> SWR1 Port 3 (COMP_L/R)
		 * WCD9385 RX Port 4 (LO)           <=> SWR1 Port 4 (LO)
		 * WCD9385 RX Port 5 (DSD_L/R)      <=> SWR1 Port 5 (DSD_L/R)
		 */
		qcom,rx-port-mapping = <1 2 3 4 5>;
	};
};

&swr2 {
	status = "okay";

	/* WCD9385 TX */
	wcd_tx: codec@0,3 {
		compatible = "sdw20217010d00";
		reg = <0 3>;

		/*
		 * WCD9385 TX Port 1 (ADC1,2)             <=> SWR2 Port 2 (TX SWR_INPUT 0,1,2,3)
		 * WCD9385 TX Port 2 (ADC3,4)             <=> SWR2 Port 2 (TX SWR_INPUT 0,1,2,3)
		 * WCD9385 TX Port 3 (DMIC0,1,2,3 & MBHC) <=> SWR2 Port 3 (TX SWR_INPUT 4,5,6,7)
		 * WCD9385 TX Port 4 (DMIC4,5,6,7)        <=> SWR2 Port 4 (TX SWR_INPUT 8,9,10,11)
		 */
		qcom,tx-port-mapping = <2 2 3 4>;
	};
};

&tlmm {
	gpio-reserved-ranges = <32 8>;

	// fan_int: fan-int-state {
	// 	pins = "gpio13";
	// 	function = "gpio";
	// 	drive-strength = <2>;
	// 	bias-disable;
	// };

	m1_m2_keys_default: m1-m2-keys-default-state {
		pins = "gpio57", "gpio58";
		function = "gpio";
		bias-pull-up;
	};

	mcu_default: mcu-default-state {
		pins = "gpio12";
		function = "gpio";
		bias-pull-down;
	};

	ts_int_default: ts-int-default-state {
		pins = "gpio25";
		function = "gpio";
		bias-pull-up;
		drive-strength = <8>;
	};

	ts_int_sleep: ts-int-sleep-state {
		pins = "gpio25";
		function = "gpio";
		bias-pull-down;
		drive-strength = <2>;
	};

	bt_default: bt-default-state {
		bt-en-pins {
			pins = "gpio81";
			function = "gpio";
			drive-strength = <16>;
			bias-disable;
		};

		sw-ctrl-pins {
			pins = "gpio82";
			function = "gpio";
			bias-pull-down;
		};
	};

	usb0_sbu_default: usb0-sbu-state {
		oe-n-pins {
			pins = "gpio140";
			function = "gpio";
			bias-disable;
			drive-strength = <16>;
			output-high;
		};

		sel-pins {
			pins = "gpio141";
			function = "gpio";
			bias-disable;
			drive-strength = <16>;
		};
	};

	sde_dsi_active: sde-dsi-active-state {
		pins = "gpio133";
		function = "gpio";
		drive-strength = <8>;
		bias-disable;
	};

	sde_dsi_suspend: sde-dsi-suspend-state {
		pins = "gpio133";
		function = "gpio";
		drive-strength = <2>;
		bias-pull-down;
	};

	sde_te_active: sde-te-active-state {
		pins = "gpio86";
		function = "mdp_vsync";
		drive-strength = <2>;
		bias-pull-down;
	};

	sde_te_suspend: sde-te-suspend-state {
		pins = "gpio86";
		function = "mdp_vsync";
		drive-strength = <2>;
		bias-pull-down;
	};

	wcd_default: wcd-reset-n-active-state {
		pins = "gpio108";
		function = "gpio";
		drive-strength = <16>;
		bias-disable;
		output-low;
	};

	wlan_en: wlan-en-state {
		pins = "gpio80";
		function = "gpio";
		drive-strength = <8>;
		bias-pull-down;
	};

	fan_pwr_en: fan-pwr-en-state {
		pins = "gpio109";
		function = "gpio";
		drive-strength = <2>;
		bias-disable;
		output-low;
	};
};

&uart7 {
	status = "okay";
};

&uart14 {
	status = "okay";

	bluetooth {
		compatible = "qcom,wcn7850-bt";

		vddrfacmn-supply = <&vreg_pmu_rfa_cmn>;
		vddaon-supply = <&vreg_pmu_aon_0p59>;
		vddwlcx-supply = <&vreg_pmu_wlcx_0p8>;
		vddwlmx-supply = <&vreg_pmu_wlmx_0p85>;
		vddrfa0p8-supply = <&vreg_pmu_rfa_0p8>;
		vddrfa1p2-supply = <&vreg_pmu_rfa_1p2>;
		vddrfa1p8-supply = <&vreg_pmu_rfa_1p8>;

		max-speed = <3200000>;
	};
};

&uart15 {
	status = "okay";

	gamepad {
		compatible = "ayn,odin2-gamepad";
		vdd-supply = <&mcu_3v3>;
		enable-gpios = <&tlmm 12 GPIO_ACTIVE_HIGH>;
		pinctrl-0 = <&mcu_default>;
		pinctrl-names = "default";
	};
};

&ufs_mem_hc {
	reset-gpios = <&tlmm 210 GPIO_ACTIVE_LOW>;
	vcc-supply = <&vreg_l17b_2p5>;
	vcc-max-microamp = <1300000>;
	vccq-supply = <&vreg_l1g_1p2>;
	vccq-max-microamp = <1200000>;
	vdd-hba-supply = <&vreg_l3g_1p2>;

	/* ICE has a high impact on UFS read speed on -next */
	/delete-property/ qcom,ice;

	status = "okay";
};

&ufs_mem_phy {
	vdda-phy-supply = <&vreg_l1d_0p88>;
	vdda-pll-supply = <&vreg_l3e_1p2>;

	status = "okay";
};

&usb_1 {
	status = "okay";
};

&usb_1_dwc3_hs {
	remote-endpoint = <&pmic_glink_hs_in>;
};

&usb_1_hsphy {
	vdd-supply = <&vreg_l1e_0p88>;
	vdda12-supply = <&vreg_l3e_1p2>;

	phys = <&pm8550b_eusb2_repeater>;

	status = "okay";
};

&usb_dp_qmpphy {
	vdda-phy-supply = <&vreg_l3e_1p2>;
	vdda-pll-supply = <&vreg_l3f_0p88>;

	mode-switch;

	status = "okay";
};

&usb_dp_qmpphy_out {
	remote-endpoint = <&pmic_glink_ss_in>;
};

&xo_board {
	clock-frequency = <76800000>;
};

&soc {
};
